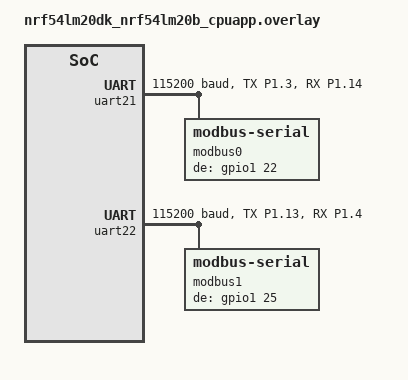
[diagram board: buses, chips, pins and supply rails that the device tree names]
/*
 * Copyright (c) 2026 Nordic Semiconductor ASA
 *
 * SPDX-License-Identifier: Apache-2.0
 */

/* Test requires following loopback:
 * P1.03 - P1.04
 * P1.13 - P1.14
 */

&pinctrl {
	uart21_default_alt: uart21_default_alt {
		group1 {
			psels = <NRF_PSEL(UART_TX, 1, 3)>,
				<NRF_PSEL(UART_RX, 1, 14)>;
		};
	};

	uart21_sleep_alt: uart21_sleep_alt {
		group1 {
			psels = <NRF_PSEL(UART_TX, 1, 3)>,
				<NRF_PSEL(UART_RX, 1, 14)>;
			low-power-enable;
		};
	};

	uart22_default_alt: uart22_default_alt {
		group1 {
			psels = <NRF_PSEL(UART_TX, 1, 13)>,
				<NRF_PSEL(UART_RX, 1, 4)>;
		};
	};

	uart22_sleep_alt: uart22_sleep_alt {
		group1 {
			psels = <NRF_PSEL(UART_TX, 1, 13)>,
				<NRF_PSEL(UART_RX, 1, 4)>;
			low-power-enable;
		};
	};
};

&uart21 {
	status = "okay";
	current-speed = <115200>;
	pinctrl-0 = <&uart21_default_alt>;
	pinctrl-1 = <&uart21_sleep_alt>;
	pinctrl-names = "default", "sleep";

	modbus0 {
		compatible = "zephyr,modbus-serial";
		status = "okay";
		de-gpios = <&gpio1 22 GPIO_ACTIVE_HIGH>;
	};
};

&uart22 {
	status = "okay";
	current-speed = <115200>;
	pinctrl-0 = <&uart22_default_alt>;
	pinctrl-1 = <&uart22_sleep_alt>;
	pinctrl-names = "default", "sleep";

	modbus1 {
		compatible = "zephyr,modbus-serial";
		status = "okay";
		de-gpios = <&gpio1 25 GPIO_ACTIVE_HIGH>;
	};
};
